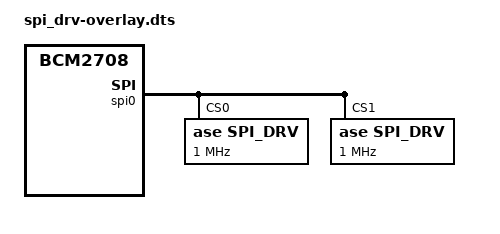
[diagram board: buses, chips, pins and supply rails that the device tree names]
/dts-v1/;
/plugin/;

/ {
    compatible = "brcm,bcm2835", "brcm,bcm2708";

    /* disable spi-dev for spi0.0 */
    fragment@0 {
        target = <&spi0>; // SPI Bus 0
        __overlay__ {
            status = "okay";
            spidev@0{     // SPI Chip Select 0
                status = "disabled";
            };
        };
    };

    fragment@1 {
        target = <&spi0>; // SPI Bus 0
        __overlay__ {
            /* needed to avoid dtc warning */
            #address-cells = <1>;
            #size-cells = <0>;

            spi_drv@0 {
                compatible = "ase, spi_drv";
                reg = <0>; // SPI Chip Select 0
                spi-max-frequency = <1000000>;
            };

            spi_drv@1 {
                compatible = "ase, spi_drv";
                reg = <1>; // SPI Chip Select 1
                spi-max-frequency = <1000000>;
            };
        };
    };
};
